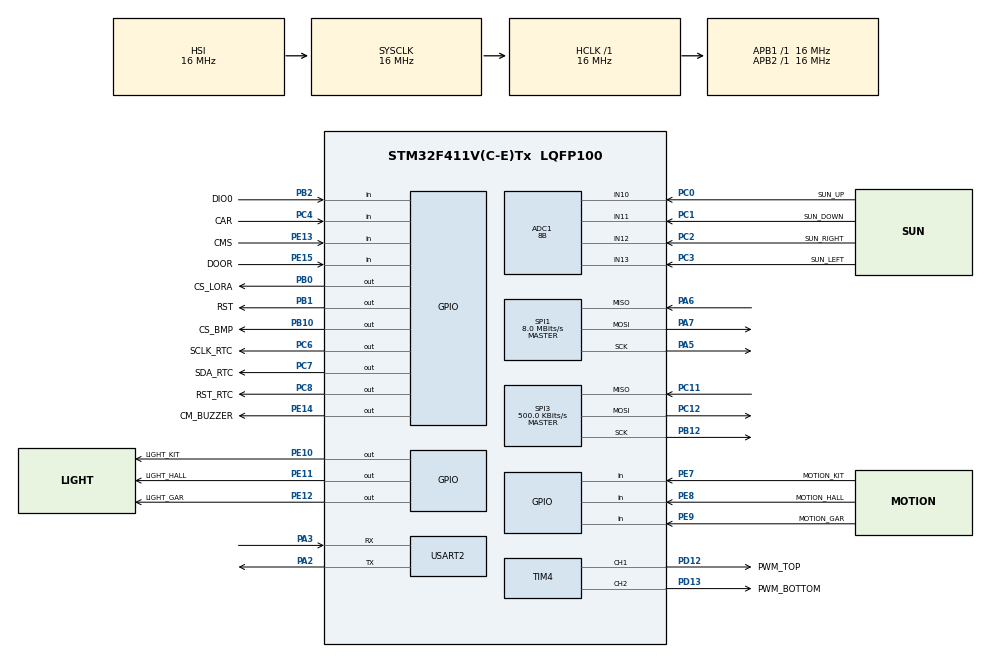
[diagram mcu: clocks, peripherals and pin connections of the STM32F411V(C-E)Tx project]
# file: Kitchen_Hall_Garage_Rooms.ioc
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ADC1.Channel-0\#ChannelRegularConversion=ADC_CHANNEL_10
ADC1.Channel-1\#ChannelRegularConversion=ADC_CHANNEL_11
ADC1.Channel-2\#ChannelRegularConversion=ADC_CHANNEL_12
ADC1.Channel-3\#ChannelRegularConversion=ADC_CHANNEL_13
ADC1.NbrOfConversion=4
ADC1.NbrOfConversionFlag=1
ADC1.Rank-0\#ChannelRegularConversion=1
ADC1.Rank-1\#ChannelRegularConversion=2
ADC1.Rank-2\#ChannelRegularConversion=3
ADC1.Rank-3\#ChannelRegularConversion=4
ADC1.Resolution=ADC_RESOLUTION_8B
ADC1.SamplingTime-0\#ChannelRegularConversion=ADC_SAMPLETIME_3CYCLES
ADC1.SamplingTime-1\#ChannelRegularConversion=ADC_SAMPLETIME_3CYCLES
ADC1.SamplingTime-2\#ChannelRegularConversion=ADC_SAMPLETIME_3CYCLES
ADC1.SamplingTime-3\#ChannelRegularConversion=ADC_SAMPLETIME_3CYCLES
ADC1.ScanConvMode=ENABLE
ADC1.master=1
Dma.ADC1.0.Direction=DMA_PERIPH_TO_MEMORY
Dma.ADC1.0.FIFOMode=DMA_FIFOMODE_DISABLE
Dma.ADC1.0.Instance=DMA2_Stream0
Dma.ADC1.0.MemDataAlignment=DMA_MDATAALIGN_BYTE
Dma.ADC1.0.MemInc=DMA_MINC_ENABLE
Dma.ADC1.0.Mode=DMA_CIRCULAR
Dma.ADC1.0.PeriphDataAlignment=DMA_PDATAALIGN_BYTE
Dma.ADC1.0.PeriphInc=DMA_PINC_DISABLE
Dma.ADC1.0.Priority=DMA_PRIORITY_LOW
Dma.Request0=ADC1
FREERTOS.Tasks01=defaultTask,24,128,StartDefaultTask,Default,NULL,Dynamic,NULL,NULL
FREERTOS.configTOTAL_HEAP_SIZE=13360
Mcu.Family=STM32F4
Mcu.Name=STM32F411V(C-E)Tx
Mcu.Package=LQFP100
NVIC.ADC_IRQn=true\:5\:0\:false\:false\:true\:true\:true\:true
NVIC.DMA2_Stream0_IRQn=true\:5\:0\:false\:false\:true\:true\:false\:true
NVIC.PriorityGroup=NVIC_PRIORITYGROUP_4
PA2.Mode=Asynchronous
PA2.Signal=USART2_TX
PA3.Mode=Asynchronous
PA3.Signal=USART2_RX
PA5.Mode=Full_Duplex_Master
PA5.Signal=SPI1_SCK
PA6.Mode=Full_Duplex_Master
PA6.Signal=SPI1_MISO
PA7.Mode=Full_Duplex_Master
PA7.Signal=SPI1_MOSI
PB0.GPIO_Label=CS_LORA
PB0.Signal=GPIO_Output
PB1.GPIO_Label=RST
PB1.Signal=GPIO_Output
PB10.GPIO_Label=CS_BMP
PB10.Signal=GPIO_Output
PB12.Mode=Full_Duplex_Master
PB12.Signal=SPI3_SCK
PB2.GPIO_Label=DIO0
PB2.Signal=GPIO_Input
PC0.GPIO_Label=SUN_UP
PC0.Signal=ADCx_IN10
PC1.GPIO_Label=SUN_DOWN
PC1.Signal=ADCx_IN11
PC11.Mode=Full_Duplex_Master
PC11.Signal=SPI3_MISO
PC12.Mode=Full_Duplex_Master
PC12.Signal=SPI3_MOSI
PC2.GPIO_Label=SUN_RIGHT
PC2.Signal=ADCx_IN12
PC3.GPIO_Label=SUN_LEFT
PC3.Signal=ADCx_IN13
PC4.GPIO_Label=CAR
PC4.GPIO_PuPd=GPIO_PULLUP
PC4.Signal=GPIO_Input
PC6.GPIO_Label=SCLK_RTC
PC6.Signal=GPIO_Output
PC7.GPIO_Label=SDA_RTC
PC7.Signal=GPIO_Output
PC8.GPIO_Label=RST_RTC
PC8.Signal=GPIO_Output
PD12.GPIO_Label=PWM_TOP
PD12.Signal=S_TIM4_CH1
PD13.GPIO_Label=PWM_BOTTOM
PD13.Signal=S_TIM4_CH2
PE10.GPIO_Label=LIGHT_KIT
PE10.Signal=GPIO_Output
PE11.GPIO_Label=LIGHT_HALL
PE11.Signal=GPIO_Output
PE12.GPIO_Label=LIGHT_GAR
PE12.Signal=GPIO_Output
PE13.GPIO_Label=CMS
PE13.GPIO_PuPd=GPIO_PULLUP
PE13.Signal=GPIO_Input
PE14.GPIO_Label=CM_BUZZER
PE14.Signal=GPIO_Output
PE15.GPIO_Label=DOOR
PE15.GPIO_PuPd=GPIO_PULLUP
PE15.Signal=GPIO_Input
PE7.GPIO_Label=MOTION_KIT
PE7.GPIO_PuPd=GPIO_PULLUP
PE7.Signal=GPIO_Input
PE8.GPIO_Label=MOTION_HALL
PE8.GPIO_PuPd=GPIO_PULLUP
PE8.Signal=GPIO_Input
PE9.GPIO_Label=MOTION_GAR
PE9.GPIO_PuPd=GPIO_PULLUP
PE9.Signal=GPIO_Input
ProjectManager.HeapSize=0x200
ProjectManager.StackSize=0x400
ProjectManager.TargetToolchain=STM32CubeIDE
RCC.AHBFreq_Value=16000000
RCC.APB1Freq_Value=16000000
RCC.APB2Freq_Value=16000000
RCC.CortexFreq_Value=16000000
RCC.HSE_VALUE=25000000
RCC.HSI_VALUE=16000000
RCC.LSE_VALUE=32768
RCC.SYSCLKFreq_VALUE=16000000
RCC.VCOOutputFreq_Value=192000000
SH.ADCx_IN10.0=ADC1_IN10,IN10
SH.ADCx_IN11.0=ADC1_IN11,IN11
SH.ADCx_IN12.0=ADC1_IN12,IN12
SH.ADCx_IN13.0=ADC1_IN13,IN13
SH.S_TIM4_CH1.0=TIM4_CH1,PWM Generation1 CH1
SH.S_TIM4_CH2.0=TIM4_CH2,PWM Generation2 CH2
SPI1.CalculateBaudRate=8.0 MBits/s
SPI1.Direction=SPI_DIRECTION_2LINES
SPI1.Mode=SPI_MODE_MASTER
SPI1.VirtualType=VM_MASTER
SPI3.BaudRatePrescaler=SPI_BAUDRATEPRESCALER_32
SPI3.CLKPhase=SPI_PHASE_2EDGE
SPI3.CLKPolarity=SPI_POLARITY_HIGH
SPI3.CalculateBaudRate=500.0 KBits/s
SPI3.Direction=SPI_DIRECTION_2LINES
SPI3.Mode=SPI_MODE_MASTER
SPI3.VirtualType=VM_MASTER
TIM4.Channel-PWM\ Generation1\ CH1=TIM_CHANNEL_1
TIM4.Channel-PWM\ Generation2\ CH2=TIM_CHANNEL_2
USART2.VirtualMode=VM_ASYNC
VP_FREERTOS_VS_CMSIS_V2.Mode=CMSIS_V2
board=custom

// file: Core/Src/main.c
/* USER CODE BEGIN Header */
/**
  ******************************************************************************
  * @file           : main.c
  * @brief          : Main program body
  ******************************************************************************
  * @attention
  *
  * <h2><center>&copy; Copyright (c) 2021 STMicroelectronics.
  * All rights reserved.</center></h2>
  *
  * This software component is licensed by ST under Ultimate Liberty license
  * SLA0044, the "License"; You may not use this file except in compliance with
  * the License. You may obtain a copy of the License at:
  *                             www.st.com/SLA0044
  *
  ******************************************************************************
  */
/* USER CODE END Header */
#include "main.h"
#include "cmsis_os.h"
#include "adc.h"
#include "dma.h"
#include "spi.h"
#include "tim.h"
#include "usart.h"
#include "gpio.h"

/* USER CODE BEGIN Includes */
#include "FreeRTOS.h"
#include "task.h"
#include "LoRa.h"
#include "bmp280.h"
#include "RTC.h"

/* USER CODE END Includes */

/* USER CODE BEGIN PD */

#define STM32F411_DEVICE 0x02

/* USER CODE END PD */

/* USER CODE BEGIN PV */

// -------------------------------------
// Task handlers

xTaskHandle light_kit_handle;
xTaskHandle light_hall_handle;
xTaskHandle light_gar_handle;
xTaskHandle carbon_sensor_handle;
xTaskHandle clock_handle;
xTaskHandle door_handle;
xTaskHandle car_handle;
xTaskHandle pressure_handle;
xTaskHandle sun_tracker_handle;
xTaskHandle tx_handle;
xTaskHandle rx_handle;

// -------------------------------------
// PID and sun tracker variables

typedef struct Servo{
	uint8_t Kp;
	uint8_t Ki;
	uint8_t Kd;

	int16_t P;
	int16_t I;
	int16_t D;

	int16_t error;
	int16_t prev_error;
}Servo;

Servo Top;
Servo Bottom;

void servo_init(){
	Top.Kp = 1;
	Top.Ki = 1;
	Top.Kd = 1;
	Top.error = 0;
	Top.prev_error = 0;

	Bottom.Kp = 1;
	Bottom.Ki = 1;
	Bottom.Kd = 1;
	Bottom.error = 0;
	Bottom.prev_error = 0;
}

int16_t positionTOP = 0;
int16_t positionBOTTOM = 0;

// -------------------------------------
// Boolean variables

uint8_t isKitchenEmpty=0;
uint8_t isHallEmpty=0;
uint8_t isGarageEmpty=0;
uint8_t isCar=0;
uint8_t isCMSensor=0;
uint8_t isDoorClosed=0;

// -------------------------------------
// Variables related with temperature, pressure and ph_resis

int32_t temp ;
uint32_t press;

volatile uint8_t ph_resis[4];

// -------------------------------------
// Variables related with data and time

uint8_t hours=0;
uint8_t minutes=0;
uint8_t seconds=1;

uint8_t day=0;
uint8_t month=0;
uint8_t year=0;
uint8_t day_week=0;

// -------------------------------------
// Transmit and receive buffor

// -----------------------------------------------------------------------
// tx_frame : | device | pressure | temp | clock | car | kitchen | hall | garage | CMS | door | PWM TOP | PWM BOTTOM |
//				  8bit      16bit	8bit   5x8bit  1bit   1bit	   1bit	  1bit	   1bit  1bit     8bit		8bit

uint8_t tx_frame[15]={0x02, 0x00, 0x00, 0x00, 0x00, 0x00, 0x00, 0x00, 0x00, 0x00, 0x00, 0x00, 0x00, 0x00, 0x00};
uint8_t rx_frame[6]={0x00, 0x00, 0x00, 0x00, 0x00, 0x00};

char tx_test[256] = "TEST FreeRTOS 411!      ";

// Continuous updatable time buffor
uint8_t buffor[8] = {0,1,2,3,4,5,6,7};
// Current time send

uint8_t real_time[8] = { 1 , 21 , 7 , 3 , 9 , 57 , 0 ,2 };

/* USER CODE END PV */

void SystemClock_Config(void);
void MX_FREERTOS_Init(void);
/* USER CODE BEGIN PFP */

void light_kitchen	(void *pvParameters);
void light_hall		(void *pvParameters);
void light_garage	(void *pvParameters);
void carbon_sensor	(void *pvParameters);
void clock			(void *pvParameters);
void door 			(void *pvParameters);
void car 			(void *pvParameters);
void pressure		(void *pvParameters);
void sun_tracker	(void *pvParameters);

void TX_radio		(void *pvParameters);
void RX_radio		(void *pvParameters);

/* USER CODE END PFP */

/* USER CODE BEGIN 0 */

void light_kitchen	(void *pvParameters){
	while(1){

		isKitchenEmpty = HAL_GPIO_ReadPin(MOTION_KIT_GPIO_Port, MOTION_KIT_Pin);

		if( !isKitchenEmpty ){
			HAL_GPIO_WritePin(LIGHT_KIT_GPIO_Port, LIGHT_KIT_Pin, GPIO_PIN_SET);
			tx_frame[10] = tx_frame[10] | (1<<4);
		}
		else{
			HAL_GPIO_WritePin(LIGHT_KIT_GPIO_Port, LIGHT_KIT_Pin, GPIO_PIN_RESET);
			tx_frame[10] = tx_frame[10] & ~(1<<4);
		}
		vTaskDelay( 10 / portTICK_PERIOD_MS);

	}
	vTaskDelete(NULL);
}

void light_hall		(void *pvParameters){
	while(1){

		isHallEmpty = HAL_GPIO_ReadPin(MOTION_HALL_GPIO_Port, MOTION_HALL_Pin);

		if( !isHallEmpty ){
			HAL_GPIO_WritePin(LIGHT_HALL_GPIO_Port, LIGHT_HALL_Pin, GPIO_PIN_SET);
			tx_frame[10] = tx_frame[10] | (1<<3);
		}
		else{
			HAL_GPIO_WritePin(LIGHT_HALL_GPIO_Port, LIGHT_HALL_Pin, GPIO_PIN_RESET);
			tx_frame[10] = tx_frame[10] & ~(1<<3);
		}
		vTaskDelay( 10 / portTICK_PERIOD_MS);
	}
	vTaskDelete(NULL);
}

void light_garage	(void *pvParameters){
	while(1){

		isGarageEmpty = HAL_GPIO_ReadPin(MOTION_GAR_GPIO_Port, MOTION_GAR_Pin);

		if( !isGarageEmpty ){
			HAL_GPIO_WritePin(LIGHT_GAR_GPIO_Port, LIGHT_GAR_Pin, GPIO_PIN_SET);
			tx_frame[10] = tx_frame[10] | (1<<2);
		}
		else{
			HAL_GPIO_WritePin(LIGHT_GAR_GPIO_Port, LIGHT_GAR_Pin, GPIO_PIN_RESET);
			tx_frame[10] = tx_frame[10] & ~(1<<2);
		}
		vTaskDelay( 10 / portTICK_PERIOD_MS);

	}
	vTaskDelete(NULL);
}

void carbon_sensor	(void *pvParameters){
	while(1){

		isCMSensor = HAL_GPIO_ReadPin(CMS_GPIO_Port, CMS_Pin);

		if( !isCMSensor ){
			HAL_GPIO_WritePin(CM_BUZZER_GPIO_Port, CM_BUZZER_Pin, GPIO_PIN_SET);
			tx_frame[10] = tx_frame[10] | (1<<1);
		}
		else{
			HAL_GPIO_WritePin(CM_BUZZER_GPIO_Port, CM_BUZZER_Pin, GPIO_PIN_RESET);
			tx_frame[10] = tx_frame[10] & ~(1<<1);
		}
		vTaskDelay( 5 / portTICK_PERIOD_MS);
	}
	vTaskDelete(NULL);
}

void clock			(void *pvParameters){
	while(1){
		Read_Time(buffor);

		year = buffor[1];
		month = buffor[2];
		day = buffor[7];

		hours = buffor[4];
		minutes = buffor[5];
		seconds = buffor[6];

//		year = 21;
//		month = 8;
//		day = 24;
//
//		hours = 9;
//		minutes = 1;

		tx_frame[4] = hours;
		tx_frame[5] = minutes;
		tx_frame[6] = seconds;
		tx_frame[7] = day;
		tx_frame[8] = month;
		tx_frame[9] = year;
//		seconds ++;
//		if(seconds == 60){
//			seconds=0;
//			minutes++;
//		}

//		printf("%d:%d:%d %d-%d-20%d \r\n",hours,minutes,seconds,day,month,year);
		vTaskDelay( 100 / portTICK_PERIOD_MS);
	}
	vTaskDelete(NULL);
}

void door 			(void *pvParameters){
	while(1){
		isDoorClosed = HAL_GPIO_ReadPin(DOOR_GPIO_Port, DOOR_Pin);
		if( !isDoorClosed ){
			tx_frame[10] = tx_frame[10] | (1<<5);
		}
		else{
			tx_frame[10] = tx_frame[10] & ~(1<<5);
		}
		vTaskDelay( 5 / portTICK_PERIOD_MS);
	}
	vTaskDelete(NULL);
}

void car 			(void *pvParameters){
	while(1){
		isCar = HAL_GPIO_ReadPin(CAR_GPIO_Port, CAR_Pin);
		if( !isCar )
			tx_frame[10] = tx_frame[10] | 1;
		else
			tx_frame[10] = tx_frame[10] & ~1;
		vTaskDelay( 5 / portTICK_PERIOD_MS);
	}
	vTaskDelete(NULL);
}

void pressure		(void *pvParameters){
	while(1){
		get_temp_press( &temp, &press);
		tx_frame[1] = (uint8_t)(press>>8);
		tx_frame[2] = (uint8_t)press;
		tx_frame[3] = (uint8_t)temp;

//		tx_frame[1] = 0x03;// (press>>8);
//		tx_frame[2] = 0xEF;// (uint8_t)press;
//		tx_frame[3] = 22;//temp;

//		printf("temp=%d \t cis=%d \r\n" , (int)temp , (int)press);
		vTaskDelay( 20 / portTICK_PERIOD_MS);
	}
	vTaskDelete(NULL);
}

void sun_tracker	(void *pvParameters){
	while(1){

		//-----------------------------------------------------------------
		// TOP

		Top.error = 0 - (ph_resis[0] - ph_resis[1]);

		Top.P = Top.Kp * Top.error;
		Top.I = Top.Ki * (Top.error - Top.prev_error);
		Top.D = Top.Kd * Top.error;

		Top.prev_error = Top.error;

		positionTOP += Top.P + Top.I;

		__HAL_TIM_SET_COMPARE(&htim1 , TIM_CHANNEL_1 , positionTOP );
		vTaskDelay( 20 / portTICK_PERIOD_MS);
		tx_frame[11] = positionTOP;

		//-----------------------------------------------------------------
		//BOTTOM

		Bottom.error = 0 - (ph_resis[2] - ph_resis[3]);

		Bottom.P = Bottom.Kp * Bottom.error;
		Bottom.I = Bottom.Ki * (Bottom.error - Bottom.prev_error);
		Bottom.D = Bottom.Kd * Bottom.error;

		Bottom.prev_error = Bottom.error;

		positionBOTTOM += Bottom.P + Bottom.I;

		__HAL_TIM_SET_COMPARE(&htim1 , TIM_CHANNEL_1 , positionBOTTOM );
		vTaskDelay( 20 / portTICK_PERIOD_MS);
		tx_frame[13] = positionBOTTOM;
	}
	vTaskDelete(NULL);
}

void TX_radio(void *pvParameters){
	vTaskDelay(30 / portTICK_PERIOD_MS);
	uint32_t time=0;
	while(1){

		time = HAL_GetTick();
		while( HAL_GetTick() - time < 5 ){
			Transmit(tx_frame, sizeof(tx_frame));
		}
//		Transmit(tx_frame, sizeof(tx_frame));
//		printf("test \r\n");

		vTaskResume(rx_handle);
		vTaskSuspend( NULL );
	}
	vTaskDelete(NULL);
}

void RX_radio(void *pvParameters){
	uint32_t time=0;
	set_OPMODE(OPMODE_RX);
	while(1){
		vTaskSuspend(tx_handle);

		set_OPMODE(OPMODE_RX);
		while(	HAL_GPIO_ReadPin(DIO0_GPIO_Port, DIO0_Pin) != GPIO_PIN_SET){}

		if( HAL_GPIO_ReadPin(DIO0_GPIO_Port, DIO0_Pin) == GPIO_PIN_SET ){
			Receive(rx_frame);
//			printf("Carrier found. \r\n");

			if( rx_frame[0] == 0x01 && rx_frame[1] == STM32F411_DEVICE){
				vTaskResume(tx_handle);
				vTaskSuspend( NULL );

				Write_Reg(REG_HOP_PERIOD,0x00);
				Write_Reg(RegDioMapping1, MAP_DIO0_LORA_RXDONE|MAP_DIO1_LORA_NOP|MAP_DIO2_LORA_NOP);
				Write_Reg(REG_IRQ_FLAGS, 0xFF);
				Write_Reg(REG_IRQ_FLAGS_MASK, ~IRQ_LORA_RXDONE_MASK);
				Write_Reg(REG_FIFO_RX_BASE_AD, 0x00);
				Write_Reg(REG_FIFO_ADDR_PTR, 0x00);
			}
			printf("RPI data = %d - %d - %d \r\n" , rx_frame[0], rx_frame[1], rx_frame[2]);
		}
		else{
			printf("No carrier found. \r\n");
		}
		rx_frame[0]=0x00;
		rx_frame[1]=0x00;

	}
	vTaskDelete(NULL);
}

/* USER CODE END 0 */

int main(void)
{

  /* MCU Configuration--------------------------------------------------------*/

  /* Reset of all peripherals, Initializes the Flash interface and the Systick. */
  HAL_Init();

  /* Configure the system clock */
  SystemClock_Config();

  /* Initialize all configured peripherals */
  MX_GPIO_Init();
  MX_SPI1_Init();
  MX_DMA_Init();
  MX_ADC1_Init();
  MX_USART2_UART_Init();
  MX_SPI3_Init();
  MX_TIM4_Init();
  /* USER CODE BEGIN 2 */

  // Sun tracker (PWM and ADC) init
//  HAL_TIM_PWM_Start(&htim1, TIM_CHANNEL_1);
//  HAL_TIM_PWM_Start(&htim1, TIM_CHANNEL_2);
//  HAL_ADC_Start_DMA(&hadc1, ph_resis, 4);

  // Setting up BMP280
  reset();
  BMP280_setup();
  setConstants();

  // Setting up Real Time Clock
  RTC_Init();
  Write_Zero_Seconds();

  // Servo struct definition
  servo_init();

  // Setting up LoRa
  LoRa_init(868);
  tx_frame[0] = STM32F411_DEVICE;

  xTaskCreate( TX_radio			, "RADIO_TRANSMIT_TASK"		, 250, NULL, 1, &tx_handle );
  xTaskCreate( RX_radio			, "RADIO_RECEIVE_TASK"		, 250, NULL, 1, &rx_handle );
  xTaskCreate( pressure			, "PRESSURE_TASK"			, 230, NULL, 1, &pressure_handle );
  xTaskCreate( clock			, "CLOCK_TASK"				, 220, NULL, 1, &clock_handle );

  xTaskCreate( door				, "DOOR_TASK"				, 90, NULL, 1, &door_handle );
  xTaskCreate( car				, "CAR_TASK"				, 90, NULL, 1, &car_handle );
  xTaskCreate( carbon_sensor	, "CARBON_SENSOR_TASK" 		, 100, NULL, 1, &carbon_sensor_handle );

  xTaskCreate( light_kitchen	, "LIGHT_KITCHEN_TASK"		, 70, NULL, 1, &light_kit_handle );
  xTaskCreate( light_hall		, "LIGHT_HALL_TASK"			, 70, NULL, 1, &light_hall_handle );
  xTaskCreate( light_garage		, "LIGHT_GARAGE_TASK"		, 70, NULL, 1, &light_gar_handle );

//  xTaskCreate( sun_tracker		, "SUN_TRACKER_TASK"		, 150, NULL, 1, &sun_tracker_handle);

  vTaskStartScheduler();

  /* USER CODE END 2 */

  /* Init scheduler */
  osKernelInitialize();  /* Call init function for freertos objects (in freertos.c) */
  MX_FREERTOS_Init();
  /* Start scheduler */
  osKernelStart();

  /* We should never get here as control is now taken by the scheduler */
  /* Infinite loop */
  /* USER CODE BEGIN WHILE */

  while (1)
  {
	vTaskDelay( 10 / portTICK_PERIOD_MS);

    /* USER CODE END WHILE */

  }
}

void SystemClock_Config(void)
{
  RCC_OscInitTypeDef RCC_OscInitStruct = {0};
  RCC_ClkInitTypeDef RCC_ClkInitStruct = {0};

  /** Configure the main internal regulator output voltage
  */
  __HAL_RCC_PWR_CLK_ENABLE();
  __HAL_PWR_VOLTAGESCALING_CONFIG(PWR_REGULATOR_VOLTAGE_SCALE1);
  /** Initializes the RCC Oscillators according to the specified parameters
  * in the RCC_OscInitTypeDef structure.
  */
  RCC_OscInitStruct.OscillatorType = RCC_OSCILLATORTYPE_HSI;
  RCC_OscInitStruct.HSIState = RCC_HSI_ON;
  RCC_OscInitStruct.HSICalibrationValue = RCC_HSICALIBRATION_DEFAULT;
  RCC_OscInitStruct.PLL.PLLState = RCC_PLL_NONE;
  if (HAL_RCC_OscConfig(&RCC_OscInitStruct) != HAL_OK)
  {
    Error_Handler();
  }
  /** Initializes the CPU, AHB and APB buses clocks
  */
  RCC_ClkInitStruct.ClockType = RCC_CLOCKTYPE_HCLK|RCC_CLOCKTYPE_SYSCLK
                              |RCC_CLOCKTYPE_PCLK1|RCC_CLOCKTYPE_PCLK2;
  RCC_ClkInitStruct.SYSCLKSource = RCC_SYSCLKSOURCE_HSI;
  RCC_ClkInitStruct.AHBCLKDivider = RCC_SYSCLK_DIV1;
  RCC_ClkInitStruct.APB1CLKDivider = RCC_HCLK_DIV1;
  RCC_ClkInitStruct.APB2CLKDivider = RCC_HCLK_DIV1;

  if (HAL_RCC_ClockConfig(&RCC_ClkInitStruct, FLASH_LATENCY_0) != HAL_OK)
  {
    Error_Handler();
  }
}

void Error_Handler(void)
{
  __disable_irq();
  while (1)
  {
  }
}

/************************ (C) COPYRIGHT STMicroelectronics *****END OF FILE****/
